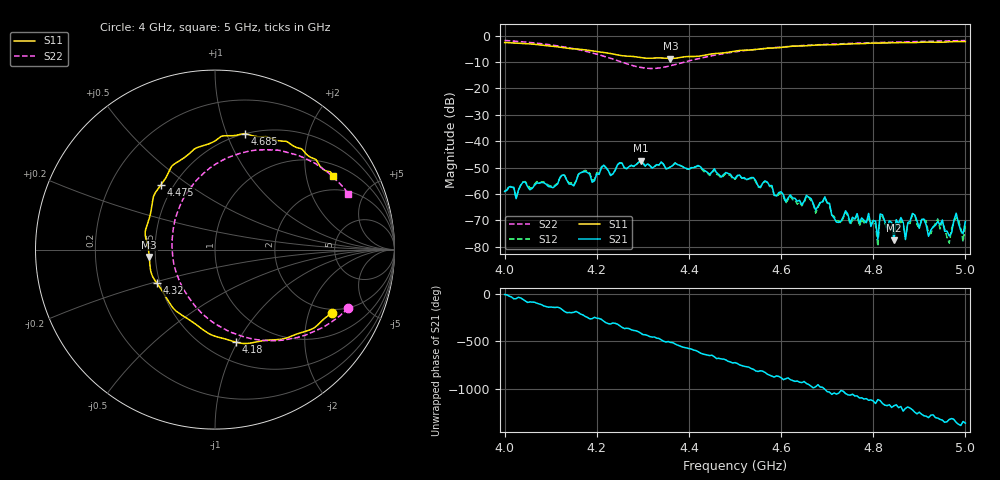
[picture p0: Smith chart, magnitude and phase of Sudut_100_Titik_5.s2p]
# Hz S RI R 50
! CMT, C1220, 16058040, 17.2.0/1
! Date: 15/08/2018 12:19:49
! Data: Format (Calibration Info)
! Freq  S11: Re/Im (F2)  S21: Re/Im (F2)  S12: Re/Im (F2)  S22: Re/Im (F2)
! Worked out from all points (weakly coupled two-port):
!   201 points, 4 GHz to 5 GHz, reference 50 ohm
!   highest |S21| = -47.32 dB at 4.295 GHz (marker M1); lowest = -77.4 dB at 4.845 GHz (marker M2)
!   lowest |S11| = -8.7 dB at 4.36 GHz (marker M3), VSWR 2.17, Z = 23.1 - j2.2 ohm
!   |S11| at or under -10 dB: nowhere
!   |S22| runs from -12.5 to -1.8 dB; largest |S21 - S12| = 0.0002
!   S11 on the Smith chart (normalised r, x): 4 GHz: 1.85, -2.88; 4.18 GHz: 0.69, -0.99; 4.32 GHz: 0.48, -0.21; 4.475 GHz: 0.43, +0.40; 4.685 GHz: 0.50, +1.16; 5 GHz: 1.40, +2.86
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4e9  0.6532 -0.3505  0.00111 -0.000119  0.00114 -0.000128  0.7412 -0.3261
4.17e9  0.1504 -0.5225  -0.00198 0.00168  -0.00206 0.00169  0.1751 -0.4896
4.18e9  0.1187 -0.5165  -0.000984 0.00236  -0.00109 0.00243  0.1336 -0.4765
4.295e9  -0.2631 -0.2813  0.00274 -0.00332  0.0027 -0.00332  -0.2176 -0.1238
4.32e9  -0.3248 -0.1849  -0.000186 -0.00309  -0.00019 -0.00318  -0.2374 -0.0178
4.335e9  -0.3532 -0.1364  -0.00113 -0.00336  -0.00121 -0.00336  -0.2391 0.0457
4.36e9  -0.3664 -0.041  -0.00285 -0.0016  -0.00283 -0.00165  -0.2274 0.1434
4.475e9  -0.3001 0.3623  0.00191 0.00134  0.0018 0.00128  -0.0264 0.4562
4.5e9  -0.2528 0.4421  0.00197 -8.79e-05  0.00191 -9.13e-05  0.0311 0.4923
4.67e9  0.1389 0.6414  -1.53e-05 0.000655  -8.49e-05 0.000629  0.3757 0.5489
4.685e9  0.1653 0.6459  -0.000124 0.000679  -0.000192 0.000673  0.4013 0.5424
4.8e9  0.3988 0.6022  0.000219 -0.000227  0.000197 -0.000252  0.5597 0.4793
4.81e9  0.4099 0.596  0.00012 -7.26e-05  9.75e-05 -3.36e-05  0.5708 0.4711
4.815e9  0.417 0.5909  0.00031 -0.000279  0.000293 -0.000284  0.5766 0.4674
4.835e9  0.4538 0.5691  2.39e-05 -0.00031  1.36e-06 -0.000234  0.5995 0.4514
4.845e9  0.4706 0.5649  -1.56e-05 -0.000133  5.3e-05 -0.000177  0.6106 0.4431
4.85e9  0.477 0.5633  1.78e-05 -0.000327  2.54e-05 -0.000316  0.6165 0.439
4.885e9  0.5169 0.5248  -0.000323 -0.000281  -0.000307 -0.000271  0.6496 0.4117
4.965e9  0.6289 0.4356  -7.86e-05 0.00014  -1.9e-05 0.000116  0.7176 0.3445
4.98e9  0.6429 0.4332  1.34e-05 0.000433  -7.11e-06 0.000353  0.7276 0.3302
4.995e9  0.651 0.4185  -2.54e-05 0.000176  4.33e-06 0.000125  0.7394 0.3155
5e9  0.6553 0.4108  5.01e-05 0.0003  1.7e-05 0.000262  0.7432 0.3111
